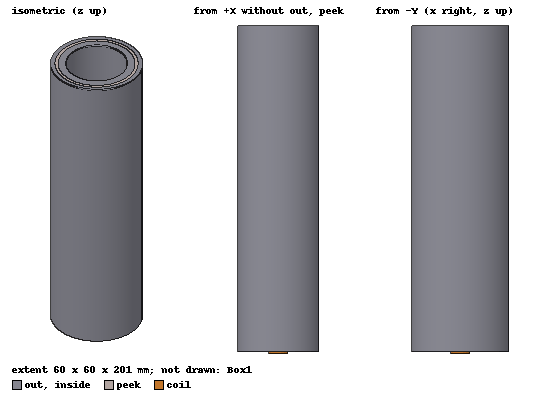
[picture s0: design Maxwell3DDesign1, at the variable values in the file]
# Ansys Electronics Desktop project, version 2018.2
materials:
  vacuum: permittivity=1
  ferrite: permittivity=12 permeability=1000 conductivity=0.01
  pec: conductivity=1e+30
  mu_metal: permittivity=1 permeability{BType=normal HUnit=A_per_meter BUnit=tesla curve (0, 0) (0.8, 0.080001) (1.2, 0.120002) (1.6, 0.150002) (2, 0.190002) (2.4, 0.230003) (2.8, 0.280004) (3.2, 0.300004) (3.6, 0.325004) (4, 0.350005) (4.4, 0.370005) (4.8, 0.390006) (5.2, 0.400006) (5.6, 0.410007) (6.4, 0.430008) (7.2, 0.440009) (8, 0.46001) (11.9, 0.500015) (15.9, 0.52502) (19.9, 0.540025) (23.9, 0.54503) (27.9, 0.555035) (31.8, 0.56004) (35.8, 0.565045) (39.8, 0.57005) (43.8, 0.575055) (47.7, 0.58006) (51.7, 0.585065) (55.7, 0.59007) (63.7, 0.59338) (71.6, 0.59669) (79.6, 0.6001) (119.4, 0.62015) (159.2, 0.6252) (198.9, 0.63025) (238.7, 0.6353) (278.5, 0.64035) (318.3, 0.6454) (358.1, 0.64705) (397.9, 0.6488) (437.7, 0.65055) (477.5, 0.6522) (517.3, 0.65385) (557, 0.6555) (636.6, 0.6572) (716.2, 0.6589) (795.8, 0.661) (1193.7, 0.664) (1591.5, 0.667) (1989.4, 0.67) (2387.3, 0.673) (2785.2, 0.6735) (3183.1, 0.674)} conductivity=1610000 lande_g_factor=2
  copper: permeability=0.999991 conductivity=58000000

design Maxwell3DDesign1 (Maxwell 3D, Magnetostatic, model units mm)
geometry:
  Cylinder1 = cylinder(axis=Z, base_centre=(0mm, 0mm, 0mm), radius=20mm, height=200mm)
  inside [ferrite] = cylinder(axis=Z, base_centre=(0mm, 0mm, 0mm), radius=25mm, height=200mm)
  inside.subtract(Cylinder1)
  Cylinder3 = cylinder(axis=Z, base_centre=(0mm, 0mm, 0mm), radius=25mm, height=200mm)
  peek [pec] = cylinder(axis=Z, base_centre=(0mm, 0mm, 0mm), radius=27mm, height=200mm)
  peek.subtract(Cylinder3)
  Cylinder5 = cylinder(axis=Z, base_centre=(0mm, 0mm, 0mm), radius=27mm, height=200mm)
  out [mu_metal] = cylinder(axis=Z, base_centre=(0mm, 0mm, 0mm), radius=30mm, height=200mm)
  out.subtract(Cylinder5)
  coil [copper] = torus(axis=Z, centre=(0mm, 0mm, 0mm), major_radius=5mm, minor_radius=1mm)
  coil_Section1 [copper] = coil.section(plane=YZ)
  Box1 [vacuum] = box(corner=(-500mm, -500mm, -500mm), size=(1000mm, 1000mm, 1000mm))
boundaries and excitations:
  CurrentDensityTeminal1: Current Density Terminal Faces=coil_Section1.face
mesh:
  initial mesh: GlobalCurvilinear{Apply}
